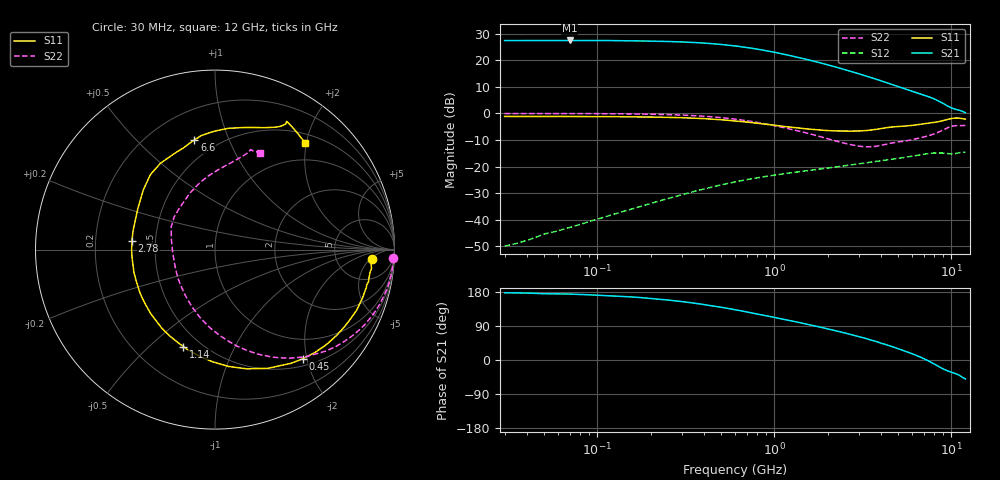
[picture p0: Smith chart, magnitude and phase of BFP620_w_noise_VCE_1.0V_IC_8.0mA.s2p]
! Infineon Technologies  Discrete & RF Semiconductors
! BFP620
! VCE =  1.0 V,  IC =  8.0 mA
! Common Emitter S-Parameters:  Nov 2015
# GHz  S  MA  R  50
!  f  S11  S21  S12  S22
! GHz  MAG  ANG  MAG  ANG  MAG  ANG  MAG  ANG
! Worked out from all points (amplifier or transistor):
!   239 points, 30 MHz to 12 GHz, reference 50 ohm
!   highest |S21| = 27.4 dB at 70 MHz (marker M1)
!   |S21| within 3 dB of that: start of sweep to 757.7 MHz
!   unconditionally stable (mu >= 1): 4.641 GHz to end of sweep
!   at 300 MHz: K = 0.12, MSG = 28.7 dB, |S12| = -30.6 dB
!   at 1.88 GHz: K = 0.66, MSG = 19.8 dB, |S12| = -20.8 dB
!   at 12 GHz: K = 1.15, MAG = 5.1 dB, |S12| = -14.6 dB
!   lowest NFmin = 0.69 dB at 450 MHz
!   S11 on the Smith chart (normalised r, x): 30 MHz: 12, -6; 450 MHz: 0.62, -1.93; 1.14 GHz: 0.40, -0.65; 2.78 GHz: 0.37, +0.05; 6.6 GHz: 0.38, +0.76; 12 GHz: 0.65, +1.97
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0.03  0.878 -3.6  23.35 177.4  0.0032 88.4  0.9938 -2.6
0.04  0.8748 -4.8  23.47 176.7  0.0041 87.3  0.994 -3.5
0.05  0.8735 -5.5  23.44 174.9  0.0054 87.8  0.9945 -4.4
0.07  0.873 -8.3  23.5 174.0  0.0072 85.8  0.9934 -6.3
0.085  0.8722 -10.0  23.41 172.5  0.0087 85.2  0.992 -7.6
0.15  0.8656 -17.8  23.19 166.9  0.0153 81.1  0.9811 -13.6
0.24  0.846 -28.0  22.56 159.2  0.0241 75.5  0.9548 -21.6
0.34  0.8181 -39.4  21.65 151.0  0.0331 70.0  0.9146 -30.1
0.45  0.7806 -51.1  20.39 142.6  0.0418 64.4  0.8617 -39.0
0.6  0.7245 -65.9  18.57 132.6  0.0517 57.7  0.7824 -49.8
0.8  0.6553 -83.4  16.16 121.3  0.0616 50.7  0.6785 -62.0
0.96  0.6088 -95.5  14.48 114.1  0.0678 46.4  0.6063 -70.3
1.14  0.5683 -108.0  12.88 107.0  0.0737 42.7  0.5383 -78.7
1.4  0.529 -124.0  11.07 98.3  0.0808 38.5  0.4589 -89.9
1.64  0.5007 -137.3  9.737 91.4  0.0864 35.6  0.4011 -99.7
2  0.4757 -155.3  8.195 82.1  0.094 31.7  0.3338 -114.4
2.78  0.4653 173.8  6.004 65.7  0.1087 25.2  0.2544 -146.2
3.5  0.4872 151.9  4.745 52.8  0.1214 19.5  0.2367 -176.5
4.5  0.5517 130.6  3.599 37.0  0.1361 11.6  0.2752 152.3
6.6  0.6217 100.6  2.341 8.8  0.1655 -4.6  0.346 113.3
8.8  0.7198 70.8  1.601 -21.2  0.1801 -26.4  0.4724 82.6
12  0.7788 50.0  1.03 -50.0  0.1859 -46.8  0.5957 65.2
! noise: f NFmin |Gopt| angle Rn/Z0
0.45  0.69  0.31  2  0.13
0.9  0.7  0.25  7  -0.06
1.9  0.72  0.15  26  -0.14
2.4  0.77  0.08  46  0.11
3.5  0.83  0.03  -168  0.12
5.5  1.17  0.07  -122  0.14
10  1.72  0.6  -53  0.74
